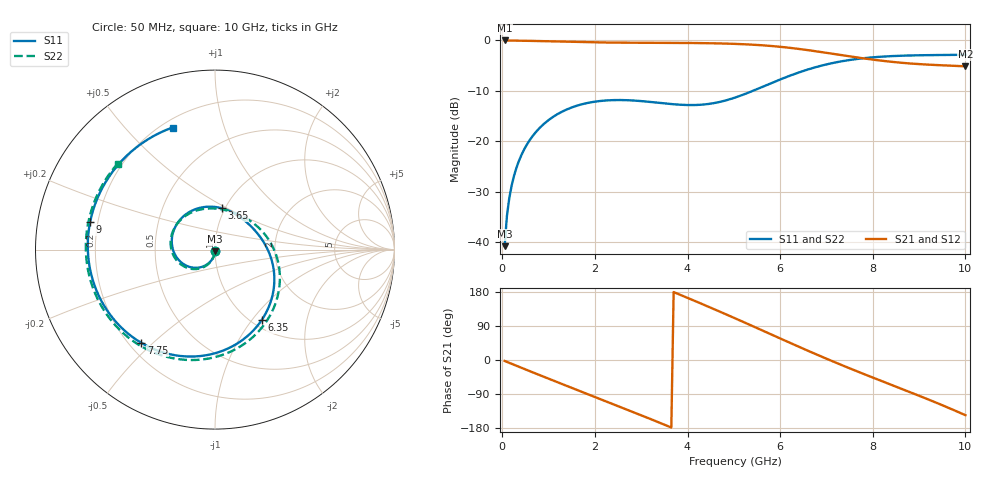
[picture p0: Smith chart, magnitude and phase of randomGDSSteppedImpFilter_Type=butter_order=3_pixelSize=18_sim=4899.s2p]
! freq	dB(S11)	phase(S11)	dB(S12)	phase(S12)
!  dB(S21)	phase(S21)	dB(S22)	phase(S22)
!S-par simulation data
#  GHz  S  DB  R 50
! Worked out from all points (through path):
!   200 points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, 50 MHz to 10 GHz, reference 50 ohm
!   highest |S21| = 0.00 dB at 50 MHz (marker M1); lowest = -5.1 dB at 10 GHz (marker M2)
!   group delay of S21, straight-line fit = 142 ps
!   lowest |S11| = -40.8 dB at 50 MHz (marker M3), VSWR 1.02, Z = 50 - j0.907 ohm
!   |S11| at or under -10 dB: start of sweep to 5.412 GHz
!   |S22| runs from -40.8 to -2.8 dB; largest |S21 - S12| = 0
!   S11 on the Smith chart (normalised r, x): 50 MHz: 1.00, -0.02; 3.65 GHz: 0.96, +0.47; 6.35 GHz: 1.11, -1.12; 7.75 GHz: 0.25, -0.46; 9 GHz: 0.17, +0.11; 10 GHz: 0.24, +0.68
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0.05  -40.84 -92.2  -0.00 -2.5  -0.00 -2.5  -40.83 -92.0
0.1  -34.84 -94.9  -0.01 -5.0  -0.01 -5.0  -34.84 -94.5
0.2  -28.89 -100.3  -0.02 -10.0  -0.02 -10.0  -28.89 -99.5
0.5  -21.17 -116.3  -0.07 -24.8  -0.07 -24.8  -21.17 -114.4
1.15  -14.86 -149.7  -0.21 -56.6  -0.21 -56.6  -14.86 -145.0
1.75  -12.60 179.9  -0.34 -85.5  -0.34 -85.5  -12.60 -172.5
2.5  -11.83 141.6  -0.44 -121.5  -0.44 -121.5  -11.84 153.7
3  -12.04 115.5  -0.46 -145.8  -0.46 -145.8  -12.05 131.2
3.4  -12.40 94.2  -0.47 -165.6  -0.47 -165.6  -12.42 112.8
3.65  -12.63 80.8  -0.48 -178.2  -0.48 -178.2  -12.66 101.0
4.3  -12.76 46.7  -0.53 148.5  -0.53 148.5  -12.80 68.6
4.7  -12.20 26.5  -0.60 127.5  -0.60 127.5  -12.25 46.9
5.05  -11.27 9.2  -0.69 108.8  -0.69 108.8  -11.32 27.0
5.65  -9.09 -20.7  -0.99 76.1  -0.99 76.1  -9.12 -8.0
6.35  -6.53 -56.6  -1.62 37.8  -1.62 37.8  -6.54 -47.8
6.7  -5.49 -74.7  -2.05 19.1  -2.05 19.1  -5.49 -66.8
7.25  -4.27 -103.0  -2.81 -9.4  -2.81 -9.4  -4.26 -95.2
7.75  -3.58 -128.4  -3.50 -34.2  -3.50 -34.2  -3.55 -119.3
8.35  -3.14 -158.6  -4.19 -63.1  -4.19 -63.1  -3.09 -146.7
9  -2.94 167.5  -4.70 -94.3  -4.70 -94.3  -2.87 -175.4
9.5  -2.89 139.5  -4.94 -119.2  -4.94 -119.2  -2.82 162.1
10  -2.85 109.2  -5.14 -145.6  -5.14 -145.6  -2.81 138.5
